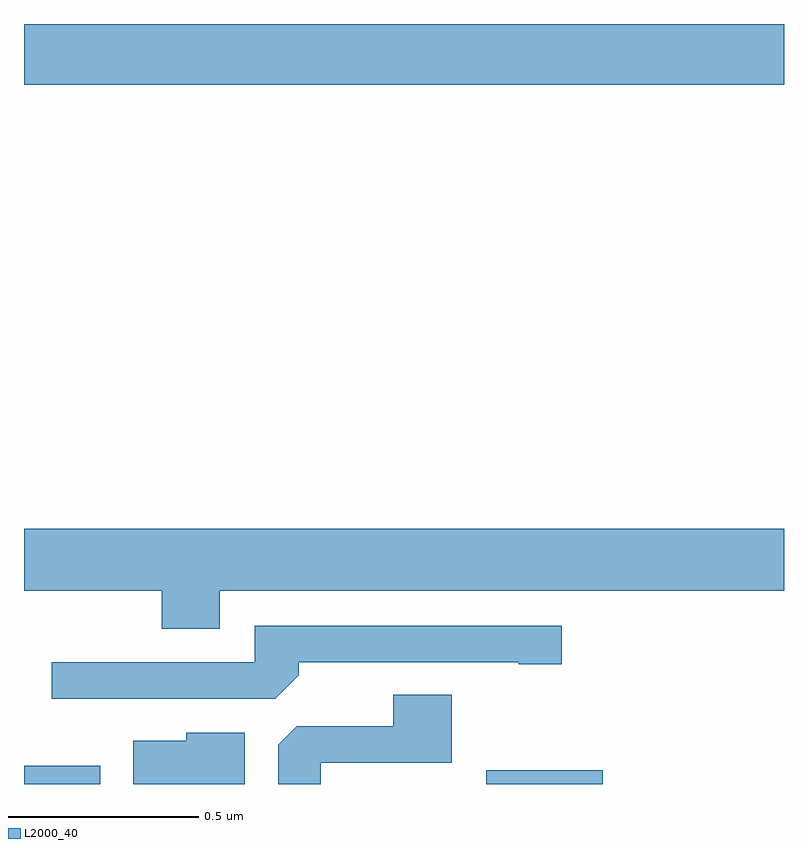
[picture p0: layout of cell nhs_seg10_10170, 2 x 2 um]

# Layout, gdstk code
import gdstk
lib = gdstk.Library(unit=1e-6, precision=1e-09)
def R(c, l, rs):  # rectangles x0, y0, x1, y1
    for r in rs: c.add(gdstk.rectangle(r[:2], r[2:], *l))
def P(c, l, *ps):  # polygons
    for p in ps: c.add(gdstk.Polygon(p, *l))
L2000_40 = (2000, 40)

nhs_seg10_10170 = lib.new_cell('nhs_seg10_10170')
R(nhs_seg10_10170, L2000_40, [(239,1274.5,239.2,1274.548), (240.216,1274.5,240.523,1274.536), (239,1276.34,241,1276.5)])
P(nhs_seg10_10170, L2000_40, [(239.515,1275.008),(241,1275.008),(241,1275.172),(239,1275.172),(239,1275.008),(239.363,1275.008),(239.363,1274.909),(239.515,1274.909)],
  [(239.723,1274.786),(239.723,1274.82),(240.302,1274.82),(240.302,1274.815),(240.415,1274.815),(240.415,1274.916),(239.607,1274.916),(239.607,1274.82),(239.073,1274.82),(239.073,1274.724),(239.661,1274.724)],
  [(239.781,1274.556),(240.125,1274.556),(240.125,1274.735),(239.972,1274.735),(239.972,1274.652),(239.718,1274.652),(239.669,1274.603),(239.669,1274.5),(239.781,1274.5)],
  [(239.581,1274.635),(239.427,1274.635),(239.427,1274.614),(239.288,1274.614),(239.288,1274.5),(239.581,1274.5)])

lib.write_gds('nhs_seg10_10170.gds')
